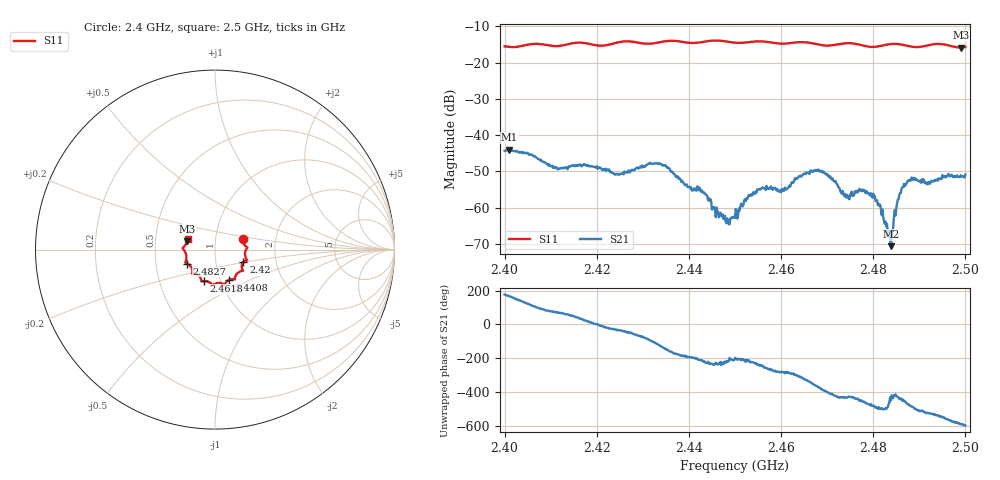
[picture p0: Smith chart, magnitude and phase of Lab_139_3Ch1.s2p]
# Hz S RI R 50
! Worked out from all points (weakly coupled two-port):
!   601 points, 2.4 GHz to 2.5 GHz, reference 50 ohm
!   highest |S21| = -44.00 dB at 2.401 GHz (marker M1); lowest = -70.7 dB at 2.4838 GHz (marker M2)
!   lowest |S11| = -15.9 dB at 2.499 GHz (marker M3), VSWR 1.38, Z = 36.5 + j3.51 ohm
!   |S11| at or under -10 dB: start of sweep to end of sweep
!   S12 and S22 are empty: the file has one direction only
!   S11 on the Smith chart (normalised r, x): 2.4 GHz: 1.36, +0.17; 2.42 GHz: 1.36, -0.19; 2.4408 GHz: 1.10, -0.38; 2.4618 GHz: 0.84, -0.30; 2.4827 GHz: 0.72, -0.12; 2.5 GHz: 0.73, +0.09
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2.4e9  0.1559 0.0618  -0.00605 0.000368  0 0  0 0
2.401e9  0.1564 0.0497  -0.00612 0.00153  0 0  0 0
2.411333e9  0.1669 -0.0214  0.00105 0.00333  0 0  0 0
2.416667e9  0.1781 -0.0594  0.00318 0.00189  0 0  0 0
2.42e9  0.1579 -0.0692  0.00371 1.62e-05  0 0  0 0
2.4245e9  0.1535 -0.111  0.00243 -0.00156  0 0  0 0
2.433333e9  0.112 -0.1521  -0.00198 -0.00346  0 0  0 0
2.440833e9  0.0789 -0.1687  -0.00165 0.000518  0 0  0 0
2.448333e9  0.0424 -0.1897  -0.000508 0.000488  0 0  0 0
2.45e9  0.028 -0.186  -0.000676 0.000232  0 0  0 0
2.455333e9  -0.0124 -0.1959  -0.00076 0.00164  0 0  0 0
2.461833e9  -0.06 -0.1751  0.000627 0.0019  0 0  0 0
2.466667e9  -0.0769 -0.1684  0.00316 0.000639  0 0  0 0
2.474333e9  -0.1262 -0.1352  0.000424 -0.00144  0 0  0 0
2.479833e9  -0.1335 -0.0954  -0.000771 -0.00112  0 0  0 0
2.482667e9  -0.157 -0.0779  -0.000477 -0.00043  0 0  0 0
2.483333e9  -0.1612 -0.0764  -0.000177 -0.000411  0 0  0 0
2.483833e9  -0.1634 -0.0756  -5.54e-06 -0.000293  0 0  0 0
2.485833e9  -0.1643 -0.0697  0.00029 -0.00155  0 0  0 0
2.487833e9  -0.1598 -0.0518  -0.00114 -0.00212  0 0  0 0
2.499e9  -0.1541 0.0469  -0.00171 0.00221  0 0  0 0
2.5e9  -0.1518 0.0614  -0.00145 0.00246  0 0  0 0
